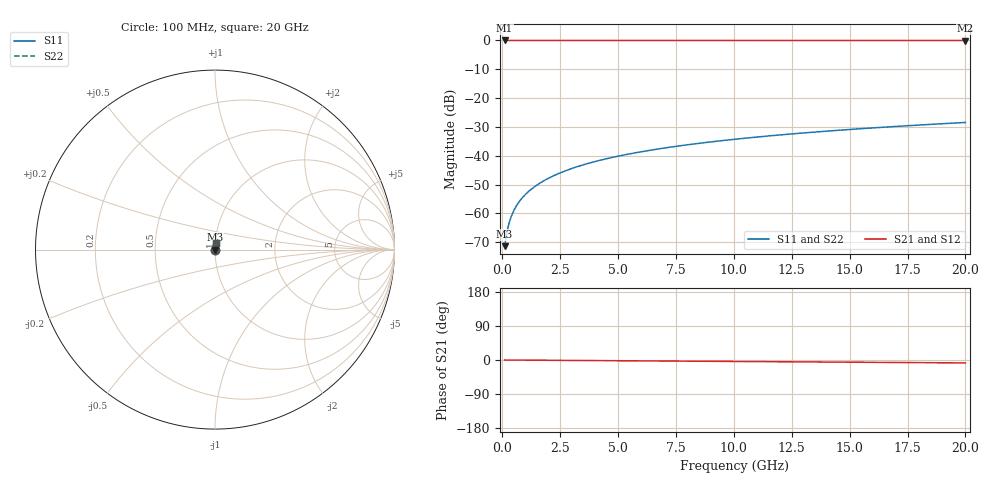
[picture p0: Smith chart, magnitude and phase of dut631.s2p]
! Touchstone file exported from HFSS 2026.1.0
!  File:  C:/ffzhzh/LocalFiles/Ansys_Project_Files/temp_train_TSV_631_1783026224_46388.aedt
!  Generated:  05:05:29 AM Jul  3, 2026
!  Design:  TSV
!  Project:  temp_train_TSV_631_1783026224_46388
! Variables:
!  h_bsmrdl = 2um
!  h_ox = 20um
!  h_rdl = 5um
!  h_sub = 70.19um
!  h_tmrdl = 5um
!  h_tsv = 70.19um
!  h_via = 3um
!  l_bsmrdl = 300um
!  l_sub = 416.96um
!  l_tmrdl = 200um
!  m_sub = 200um
!  pitch = 48.72um
!  r_tsv = 8.48um
!  s_tmrdl = 10um
!  w_bsmrdl = 18um
!  w_sub = 500um
!  w_tmrdl = 12um
!  x_tsv_center1 = 206um
!  x_tsv_center2 = 524um
!  x_tsv_center3 = 736um
!  x_tsv_center4 = 1054um
!  x_tsv_center5 = 1266um
!  x_tsv_center6 = 1584um
# GHz S MA R 50.000000
! Terminal data exported
! Port[1] = TSV1_1_T1
! Port[2] = TSV1_1_T2
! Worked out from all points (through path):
!   200 points, 100 MHz to 20 GHz, reference 50 ohm
!   highest |S21| = 0.00 dB at 100 MHz (marker M1); lowest = 0.0 dB at 20 GHz (marker M2)
!   group delay of S21, straight-line fit = 1.07 ps
!   lowest |S11| = -71.3 dB at 100 MHz (marker M3), VSWR 1.00, Z = 50 + j0.0228 ohm
!   |S11| at or under -10 dB: start of sweep to end of sweep
!   |S22| runs from -71.3 to -28.4 dB; largest |S21 - S12| = 2.7e-15
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0.1  0.0002707 57.2  0.9999 -0.0  0.9999 -0.0  0.0002707 57.2
! Gamma 0 0 0 0
! Port Impedance 50 0 50 0
0.2  0.0004795 70.9  0.9998 -0.1  0.9998 -0.1  0.0004795 70.9
0.3  0.0006967 75.7  0.9998 -0.1  0.9998 -0.1  0.0006967 75.7
0.4  0.0009128 77.9  0.9998 -0.2  0.9998 -0.2  0.0009128 77.9
0.5  0.001125 79.1  0.9998 -0.2  0.9998 -0.2  0.001125 79.1
0.6  0.001334 79.9  0.9998 -0.2  0.9998 -0.2  0.001334 79.9
0.7  0.00154 80.4  0.9998 -0.3  0.9998 -0.3  0.00154 80.4
0.8  0.001742 80.9  0.9997 -0.3  0.9997 -0.3  0.001742 80.9
1  0.00214 81.5  0.9997 -0.4  0.9997 -0.4  0.00214 81.5
1.4  0.002922 82.5  0.9996 -0.6  0.9996 -0.6  0.002922 82.5
1.7  0.003504 83.0  0.9996 -0.7  0.9996 -0.7  0.003504 83.0
2  0.004084 83.4  0.9996 -0.8  0.9996 -0.8  0.004084 83.4
2.7  0.005437 84.0  0.9995 -1.1  0.9995 -1.1  0.005437 84.0
3.5  0.006978 84.3  0.9994 -1.4  0.9994 -1.4  0.006978 84.3
4.2  0.00832 84.4  0.9994 -1.6  0.9994 -1.6  0.00832 84.4
5  0.009848 84.4  0.9993 -1.9  0.9993 -1.9  0.009848 84.4
6.8  0.01326 84.2  0.9992 -2.6  0.9992 -2.6  0.01326 84.2
8.3  0.01609 83.9  0.9991 -3.2  0.9991 -3.2  0.01609 83.9
10.1  0.01946 83.4  0.9989 -3.9  0.9989 -3.9  0.01946 83.4
13.4  0.02562 82.5  0.9986 -5.2  0.9986 -5.2  0.02562 82.5
16.7  0.03175 81.5  0.9983 -6.4  0.9983 -6.4  0.03175 81.5
20  0.03782 80.4  0.998 -7.7  0.998 -7.7  0.03782 80.4
